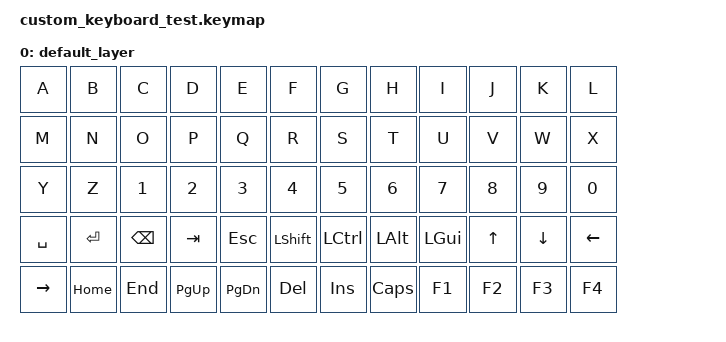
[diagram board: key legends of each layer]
/*
 * Copyright (c) 2025
 * SPDX-License-Identifier: MIT
 */

#include <behaviors.dtsi>
#include <dt-bindings/zmk/keys.h>

/ {
    keymap {
        compatible = "zmk,keymap";

        default_layer {
            bindings = <
                &kp A &kp B &kp C &kp D &kp E &kp F &kp G &kp H &kp I &kp J &kp K &kp L
                &kp M &kp N &kp O &kp P &kp Q &kp R &kp S &kp T &kp U &kp V &kp W &kp X
                &kp Y &kp Z &kp N1 &kp N2 &kp N3 &kp N4 &kp N5 &kp N6 &kp N7 &kp N8 &kp N9 &kp N0
                &kp SPACE &kp ENTER &kp BSPC &kp TAB &kp ESC &kp LSHFT &kp LCTRL &kp LALT &kp LGUI &kp UP &kp DOWN &kp LEFT
                &kp RIGHT &kp HOME &kp END &kp PG_UP &kp PG_DN &kp DEL &kp INS &kp CAPS &kp F1 &kp F2 &kp F3 &kp F4
            >;
        };
    };
};
